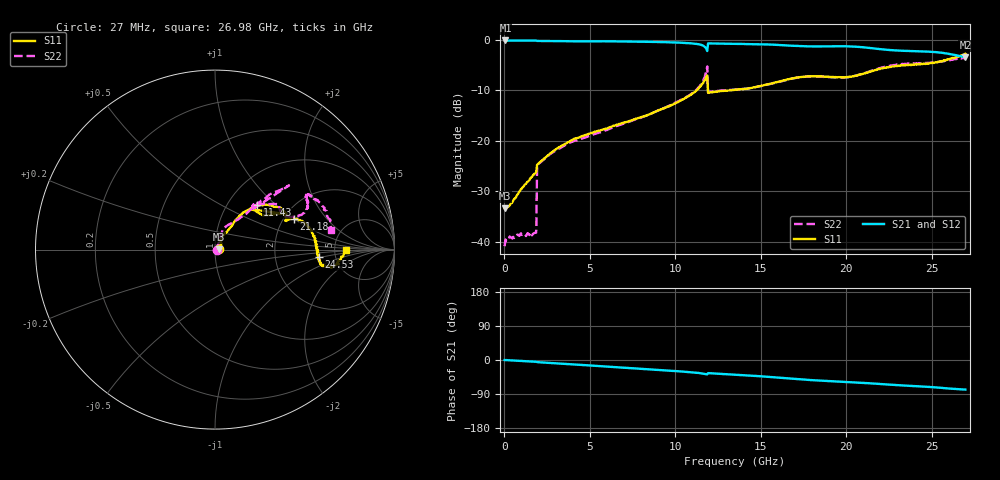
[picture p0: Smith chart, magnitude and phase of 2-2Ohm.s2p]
#  HZ  S  MA  R  50.00
! Rohde & Schwarz ZVA67 4Ports - Version 4.11 - 1305.7002k04 SN: 101051
! Date: 2023-05-24 10:49:18
! Measurements: S11 S21 S12 S22
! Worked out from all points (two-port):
!   540 points, 27 MHz to 26.98 GHz, reference 50 ohm
!   highest |S21| = -0.12 dB at 77 MHz (marker M1); lowest = -3.5 dB at 26.98 GHz (marker M2)
!   |S21| within 3 dB of the highest: start of sweep to 26.5 GHz
!   lowest |S11| = -33.4 dB at 27 MHz (marker M3), VSWR 1.04, Z = 52.2 + j0.12 ohm
!   |S11| at or under -10 dB: start of sweep to 11.25 GHz; 11.92 GHz to 13.3 GHz (1.383 GHz wide, 11 % of centre)
!   |S22| runs from -40.9 to -3.6 dB; largest |S21 - S12| = 0.068
!   S11 on the Smith chart (normalised r, x): 27 MHz: 1.04, +0.00; 11.43 GHz: 1.37, +0.76; 21.18 GHz: 2.26, +1.00; 24.53 GHz: 3.70, -0.47; 26.98 GHz: 6.36, -0.01
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2.7e7  0.02131 3.1  0.9842 -0.1  0.982 -0.4  0.009003 0.8
7.7e7  0.02181 5.6  0.9861 -0.1  0.9852 -0.4  0.01049 -0.8
7.27e8  0.0282 31.7  0.9841 -1.8  0.9828 -2.1  0.01154 18.2
1.777e9  0.04717 42.4  0.9836 -4.5  0.9822 -4.9  0.01217 42.1
2.027e9  0.05991 59.6  0.9748 -5.9  0.973 -6.3  0.05931 63.2
2.977e9  0.08077 60.4  0.9724 -8.7  0.9712 -9.3  0.07908 67.0
4.527e9  0.1103 57.6  0.9671 -13.0  0.9649 -14.0  0.1047 68.4
9.027e9  0.2002 55.0  0.9518 -26.3  0.9491 -28.0  0.2002 54.2
1.0577e10  0.2633 52.3  0.9323 -31.0  0.9297 -33.1  0.2661 49.0
1.1427e10  0.3411 46.4  0.9002 -34.5  0.8972 -36.8  0.3454 47.3
1.1777e10  0.4058 36.0  0.8402 -37.1  0.8366 -39.4  0.4576 44.2
1.2027e10  0.2999 48.6  0.9198 -34.8  0.918 -37.4  0.3048 47.2
1.3527e10  0.3199 39.3  0.9127 -38.8  0.9075 -41.2  0.3224 48.8
1.4577e10  0.3367 34.7  0.9046 -41.7  0.9014 -44.2  0.3376 48.9
1.8027e10  0.4359 25.4  0.8601 -53.2  0.8595 -56.7  0.4341 35.2
1.9977e10  0.4264 22.5  0.8633 -57.8  0.863 -61.6  0.4242 28.2
2.1177e10  0.4713 21.4  0.8385 -60.9  0.8373 -65.2  0.4733 22.7
2.2527e10  0.5387 13.4  0.7936 -64.8  0.7913 -69.5  0.5511 23.2
2.4527e10  0.5798 -4.2  0.7673 -70.1  0.7634 -74.7  0.5847 30.2
2.5427e10  0.6084 -8.1  0.749 -73.0  0.7449 -77.8  0.6067 30.3
2.6227e10  0.6616 -8.6  0.7136 -76.1  0.7105 -81.1  0.6354 25.0
2.6977e10  0.7284 -0.0  0.6708 -78.0  0.6674 -83.1  0.6576 9.7
